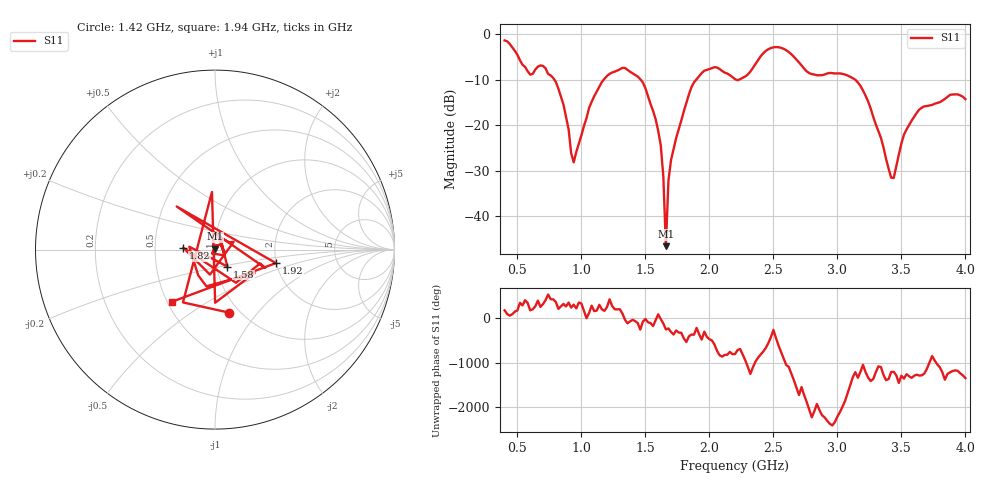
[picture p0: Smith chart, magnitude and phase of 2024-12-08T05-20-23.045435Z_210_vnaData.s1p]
!Created with skrf (http://scikit-rf.org).
# Hz S RI R 50.0
!freq ReS11 ImS11
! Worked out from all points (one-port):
!   181 points, 400 MHz to 4 GHz, reference 50 ohm
!   lowest |S11| = -46.6 dB at 1.66 GHz (marker M1), VSWR 1.01, Z = 49.9 + j0.461 ohm
!   |S11| at or under -10 dB: 789.8 MHz to 1.173 GHz (383.6 MHz wide, 39.1 % of centre); 1.464 GHz to 1.896 GHz (431.8 MHz wide, 25.7 % of centre); 3.141 GHz to end of sweep (the widest 3 of 4)
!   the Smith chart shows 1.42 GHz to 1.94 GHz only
!   S11 on the Smith chart (normalised r, x): 1.42 GHz: 0.89, -0.72; 1.58 GHz: 1.13, -0.21; 1.82 GHz: 0.70, +0.02; 1.92 GHz: 1.99, -0.34; 1.94 GHz: 0.53, -0.36
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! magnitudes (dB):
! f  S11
! 400 MHz  -1.3
! 600 MHz  -8.9
! 720 MHz  -7.5
! 860 MHz  -15.5
! 940 MHz  -28.2
! 1.1 GHz  -13.6
! 1.3 GHz  -7.7
! 1.42 GHz  -8.9
! 1.48 GHz  -10.6
! 1.58 GHz  -18.7
! 1.62 GHz  -24.4
! 1.64 GHz  -31.3
! 1.66 GHz  -46.6
! 1.68 GHz  -32.2
! 1.76 GHz  -20.9
! 1.82 GHz  -15.0
! 1.92 GHz  -9.2
! 1.94 GHz  -8.5
! 2.2 GHz  -9.8
! 2.48 GHz  -3.0
! 2.66 GHz  -4.9
! 2.8 GHz  -8.7
! 3.1 GHz  -9.3
! 3.24 GHz  -14.8
! 3.42 GHz  -31.5
! 3.56 GHz  -20.0
! 3.68 GHz  -15.8
! 4 GHz  -14.2
